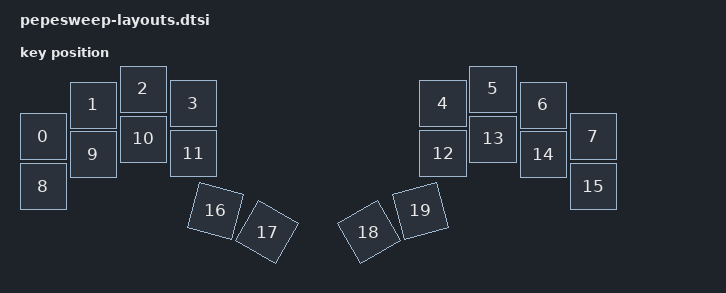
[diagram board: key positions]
// https://zmk.dev/docs/hardware-integration/physical-layouts
#include <physical_layouts.dtsi>

/ {
    pepesweep_layout: pepesweep_layout {
        compatible = "zmk,physical-layout";
        display-name = "Default";

        keys  //                     w   h    x    y     rot    rx    ry
            = <&key_physical_attrs 100 100    0  195       0     0     0>
            , <&key_physical_attrs 100 100  100  132       0     0     0>
            , <&key_physical_attrs 100 100  200  100       0     0     0>
            , <&key_physical_attrs 100 100  300  129       0     0     0>
            , <&key_physical_attrs 100 100  800  129       0     0     0>
            , <&key_physical_attrs 100 100  900  100       0     0     0>
            , <&key_physical_attrs 100 100 1000  132       0     0     0>
            , <&key_physical_attrs 100 100 1100  195       0     0     0>
            , <&key_physical_attrs 100 100    0  295       0     0     0>
            , <&key_physical_attrs 100 100  100  231       0     0     0>
            , <&key_physical_attrs 100 100  200  200       0     0     0>
            , <&key_physical_attrs 100 100  300  229       0     0     0>
            , <&key_physical_attrs 100 100  800  229       0     0     0>
            , <&key_physical_attrs 100 100  900  200       0     0     0>
            , <&key_physical_attrs 100 100 1000  231       0     0     0>
            , <&key_physical_attrs 100 100 1100  295       0     0     0>
            , <&key_physical_attrs 100 100  330  355    1500   430   455>
            , <&key_physical_attrs 100 100  430  355    3000   430   455>
            , <&key_physical_attrs 100 100  670  355 (-3000)   770   455>
            , <&key_physical_attrs 100 100  770  355 (-1500)   770   455>
            ;
    };
};
